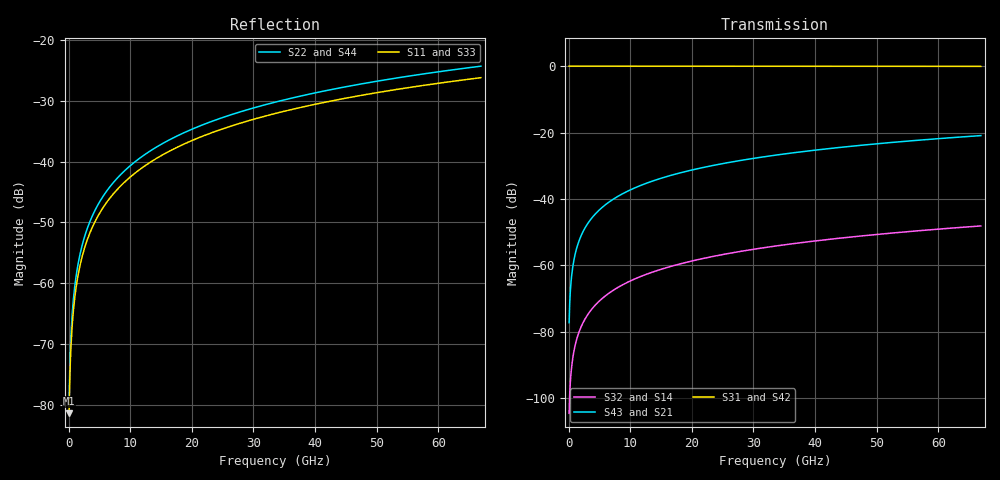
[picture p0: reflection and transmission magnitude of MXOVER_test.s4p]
! Created with skrf (http://scikit-rf.org).
# Hz S RI R 50.0
!freq ReS11 ImS11 ReS12 ImS12 ReS13 ImS13
! ReS14 ImS14
! ReS21 ImS21 ReS22 ImS22 ReS23 ImS23
! ReS24 ImS24
! ReS31 ImS31 ReS32 ImS32 ReS33 ImS33
! ReS34 ImS34
! ReS41 ImS41 ReS42 ImS42 ReS43 ImS43
! ReS44 ImS44
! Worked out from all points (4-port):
!   669 points, 100 MHz to 66.9 GHz, reference 50 ohm
!   strongest paths, dB at 100 MHz, 16.8 GHz, 33.5 GHz, 50.2 GHz, 66.9 GHz:
!     S31: 0.0, 0.0, 0.0, 0.0, -0.1
!     S42: 0.0, 0.0, 0.0, 0.0, -0.1
!     S43: -77.3, -32.8, -26.8, -23.4, -20.9
!     S21: -77.3, -32.8, -26.8, -23.4, -20.9
!     S32: -104.6, -60.2, -54.2, -50.7, -48.1
!     S14: -104.6, -60.2, -54.2, -50.7, -48.1
!   lowest |S11| = -81.4 dB at 100 MHz (marker M1), VSWR 1.00, Z = 50 - j0.00745 ohm
!   |S11| at or under -10 dB: start of sweep to end of sweep
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1e8  4.02e-05 -7.45e-05  1.63e-06 0.000142  1 -0.000405  -1.14e-06 5.78e-06
     1.61e-06 0.000137  3.9e-05 9.23e-05  -1.16e-06 2.47e-07  1 -0.000322
     1 -0.000405  -1.14e-06 5.78e-06  4.02e-05 -7.45e-05  1.63e-06 0.000142
     -1.16e-06 2.47e-07  1 -0.000322  1.61e-06 0.000137  3.9e-05 9.23e-05
9e8  5.08e-05 -0.000671  1.02e-05 0.00128  0.9999 -0.00365  -2.01e-06 5.21e-05
     9.86e-06 0.00123  5.65e-05 0.000831  -2.34e-06 2.24e-06  0.9999 -0.0029
     0.9999 -0.00365  -2.01e-06 5.21e-05  5.08e-05 -0.000671  1.02e-05 0.00128
     -2.34e-06 2.24e-06  0.9999 -0.0029  9.86e-06 0.00123  5.65e-05 0.000831
2.6e9  5.56e-05 -0.00194  4.7e-05 0.00369  0.9998 -0.0105  -1.7e-07 0.000151
       4.52e-05 0.00355  0.000102 0.0024  -1.98e-06 6.57e-06  0.9999 -0.00838
       0.9998 -0.0105  -1.7e-07 0.000151  5.56e-05 -0.00194  4.7e-05 0.00369
       -1.98e-06 6.57e-06  0.9999 -0.00838  4.52e-05 0.00355  0.000102 0.0024
5.9e9  3.76e-06 -0.0044  0.000203 0.00838  0.9995 -0.0239  5.51e-06 0.000342
       0.000195 0.00805  0.000229 0.00544  -2.43e-06 1.53e-05  0.9996 -0.019
       0.9995 -0.0239  5.51e-06 0.000342  3.76e-06 -0.0044  0.000203 0.00838
       -2.43e-06 1.53e-05  0.9996 -0.019  0.000195 0.00805  0.000229 0.00544
1.11e10  -0.000246 -0.00826  0.000674 0.0157  0.9985 -0.0449  2.05e-05 0.000643
         0.000648 0.0151  0.000526 0.0102  -5.76e-06 2.94e-05  0.999 -0.0358
         0.9985 -0.0449  2.05e-05 0.000643  -0.000246 -0.00826  0.000674 0.0157
         -5.76e-06 2.94e-05  0.999 -0.0358  0.000648 0.0151  0.000526 0.0102
2.83e10  -0.0023 -0.0209  0.0042 0.0399  0.9919 -0.1142  0.000107 0.00164
         0.00403 0.0383  0.00257 0.0259  -5.47e-05 8.4e-05  0.9943 -0.0909
         0.9919 -0.1142  0.000107 0.00164  -0.0023 -0.0209  0.0042 0.0399
         -5.47e-05 8.4e-05  0.9943 -0.0909  0.00403 0.0383  0.00257 0.0259
6.69e10  -0.0132 -0.0472  0.0226 0.0909  0.9575 -0.2651  0.000497 0.00389
         0.0218 0.0873  0.0131 0.0596  -0.000378 0.000313  0.9704 -0.2116
         0.9575 -0.2651  0.000497 0.00389  -0.0132 -0.0472  0.0226 0.0909
         -0.000378 0.000313  0.9704 -0.2116  0.0218 0.0873  0.0131 0.0596
